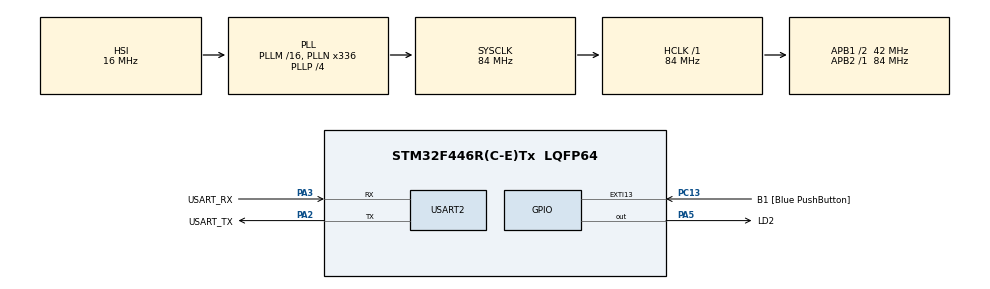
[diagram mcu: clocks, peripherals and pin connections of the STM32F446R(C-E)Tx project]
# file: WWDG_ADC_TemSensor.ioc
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ADC1.Channel-0\#ChannelRegularConversion=ADC_CHANNEL_TEMPSENSOR
ADC1.ContinuousConvMode=ENABLE
ADC1.NbrOfConversionFlag=1
ADC1.Rank-0\#ChannelRegularConversion=1
ADC1.SamplingTime-0\#ChannelRegularConversion=ADC_SAMPLETIME_28CYCLES
ADC1.master=1
Mcu.Family=STM32F4
Mcu.Name=STM32F446R(C-E)Tx
Mcu.Package=LQFP64
NVIC.PriorityGroup=NVIC_PRIORITYGROUP_0
PA13.GPIO_Label=TMS
PA13.Mode=Serial_Wire
PA13.Signal=SYS_JTMS-SWDIO
PA14.GPIO_Label=TCK
PA14.Mode=Serial_Wire
PA14.Signal=SYS_JTCK-SWCLK
PA2.GPIO_Label=USART_TX
PA2.Mode=Asynchronous
PA2.Signal=USART2_TX
PA3.GPIO_Label=USART_RX
PA3.Mode=Asynchronous
PA3.Signal=USART2_RX
PA5.GPIO_Label=LD2
PA5.Signal=GPIO_Output
PB3.GPIO_Label=SWO
PB3.Signal=SYS_JTDO-SWO
PC13.GPIO_Label=B1 [Blue PushButton]
PC13.GPIO_ModeDefaultEXTI=GPIO_MODE_IT_FALLING
PC13.Signal=GPXTI13
PC14-OSC32_IN.Signal=RCC_OSC32_IN
PC15-OSC32_OUT.Signal=RCC_OSC32_OUT
PH0-OSC_IN.Signal=RCC_OSC_IN
PH1-OSC_OUT.Signal=RCC_OSC_OUT
ProjectManager.HeapSize=0x200
ProjectManager.StackSize=0x400
ProjectManager.TargetToolchain=STM32CubeIDE
RCC.48MHZClocksFreq_Value=84000000
RCC.AHBFreq_Value=84000000
RCC.APB1CLKDivider=RCC_HCLK_DIV2
RCC.APB1Freq_Value=42000000
RCC.APB1TimFreq_Value=84000000
RCC.APB2Freq_Value=84000000
RCC.APB2TimFreq_Value=84000000
RCC.CortexFreq_Value=84000000
RCC.FLatency-AdvancedSettings=FLASH_LATENCY_2
RCC.HCLKFreq_Value=84000000
RCC.HSE_VALUE=8000000
RCC.HSI_VALUE=16000000
RCC.PLLN=336
RCC.PLLP=RCC_PLLP_DIV4
RCC.SYSCLKFreq_VALUE=84000000
RCC.SYSCLKSource=RCC_SYSCLKSOURCE_PLLCLK
RCC.USBFreq_Value=168000000
RCC.VCOOutputFreq_Value=336000000
USART2.VirtualMode=VM_ASYNC
VP_ADC1_TempSens_Input.Mode=IN-TempSens
VP_WWDG_VS_WWDG.Mode=WWDG_Activate
WWDG.Counter=127
WWDG.Prescaler=WWDG_PRESCALER_8
WWDG.Window=127
board=NUCLEO-F446RE

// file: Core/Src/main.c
/* USER CODE BEGIN Header */
/**
  ******************************************************************************
  * @file           : main.c
  * @brief          : Main program body
  ******************************************************************************
  * @attention
  *
  * Copyright (c) 2026 STMicroelectronics.
  * All rights reserved.
  *
  * This software is licensed under terms that can be found in the LICENSE file
  * in the root directory of this software component.
  * If no LICENSE file comes with this software, it is provided AS-IS.
  *
  ******************************************************************************
  */
/* USER CODE END Header */
#include "main.h"
#include <stdio.h>

/* USER CODE BEGIN PD */
// STM32F446 내부 온도 센서 및 전압 계산용 상수 정의
#define V25          0.76f       // 25℃ 기준 전압 (0.76V)
#define AVG_SLOPE    0.0025f     // 온도 기울기 (2.5mV/℃ = 0.0025V/℃)
#define ADC_TO_VOLT  (3.3f / 4095.0f) // 12비트 ADC 값을 전압(V)으로 변환
/* USER CODE END PD */

ADC_HandleTypeDef hadc1;
UART_HandleTypeDef huart2;
WWDG_HandleTypeDef hwwdg;

void SystemClock_Config(void);
static void MX_GPIO_Init(void);
static void MX_USART2_UART_Init(void);
static void MX_ADC1_Init(void);
static void MX_WWDG_Init(void);

/* USER CODE BEGIN 0 */
#ifdef __GNUC__
#define PUTCHAR_PROTOTYPE int __io_putchar(int ch)
#else
#define PUTCHAR_PROTOTYPE int fputc(int ch, FILE *f)
#endif

PUTCHAR_PROTOTYPE
{
   if(ch == '\n')
       HAL_UART_Transmit (&huart2, (uint8_t*) "\r", 1, 0xFFFF);
   HAL_UART_Transmit (&huart2, (uint8_t*) &ch, 1, 0xFFFF);

   return ch;
}
/* USER CODE END 0 */

int main(void)
{

  /* MCU Configuration--------------------------------------------------------*/

  /* Reset of all peripherals, Initializes the Flash interface and the Systick. */
  HAL_Init();

  /* Configure the system clock */
  SystemClock_Config();

  /* Initialize all configured peripherals */
  MX_GPIO_Init();
  MX_USART2_UART_Init();
  MX_ADC1_Init();
  MX_WWDG_Init(); // 와치독 초기화 (호출 즉시 카운트다운 시작)
  /* USER CODE BEGIN 2 */

  // ADC 스타트 처리 (STM32F4 시리즈는 하드웨어 자체 교정 기능이 없으므로 바로 Start)
  if (HAL_ADC_Start(&hadc1) != HAL_OK)
  {
      Error_Handler();
  }

  uint16_t adc1;
  float vSense;
  float temp;
  /* USER CODE END 2 */

  /* Infinite loop */
  /* USER CODE BEGIN WHILE */
  /* Infinite loop */
   /* USER CODE BEGIN WHILE */
   uint32_t wwdg_current_cnt = 0;
   uint8_t led_timer = 0; // 🌟 0.5초를 측정하기 위한 새로운 타이머 변수

   while (1)
   {
       HAL_WWDG_Refresh(&hwwdg);
       HAL_Delay(2); // 전원 안정화 딜레이

       // ADC 측정 및 온도 연산
       HAL_ADC_PollForConversion(&hadc1, 100);
       adc1 = HAL_ADC_GetValue(&hadc1);
       vSense = (float)adc1 * ADC_TO_VOLT;
       temp = ((V25 - vSense) / AVG_SLOPE) + 25.0f;

       // 와치독 카운터 읽기 및 출력
       wwdg_current_cnt = (hwwdg.Instance->CR) & 0x7F;
       HAL_WWDG_Refresh(&hwwdg);
       printf("WWDG: %ld | ADC: %d | Temp: %.2f C\n", wwdg_current_cnt, adc1, temp);
       HAL_WWDG_Refresh(&hwwdg);

       /*
        * 🌟 [수정 핵심]
        * 여기서는 LED를 건드리지 않고, 아래 25ms 분할 루프 안에서
        * 25ms가 20번 흐르는 순간(즉, 500ms = 0.5초)에만 LED를 딱 한 번 토글합니다.
        */
       for (uint8_t delay_cnt = 0; delay_cnt < 20; delay_cnt++)
       {
           HAL_Delay(25);
           HAL_WWDG_Refresh(&hwwdg);
       }

       // 0.5초 대기가 완전히 끝난 '이 시점'에만 LED를 한 번 뒤집어줍니다.
       HAL_GPIO_TogglePin(LD2_GPIO_Port, LD2_Pin);

     /* USER CODE END WHILE */

     /* USER CODE BEGIN 3 */
   }
}

void SystemClock_Config(void)
{
  RCC_OscInitTypeDef RCC_OscInitStruct = {0};
  RCC_ClkInitTypeDef RCC_ClkInitStruct = {0};

  __HAL_RCC_PWR_CLK_ENABLE();
  __HAL_PWR_VOLTAGESCALING_CONFIG(PWR_REGULATOR_VOLTAGE_SCALE3);

  RCC_OscInitStruct.OscillatorType = RCC_OSCILLATORTYPE_HSI;
  RCC_OscInitStruct.HSIState = RCC_HSI_ON;
  RCC_OscInitStruct.HSICalibrationValue = RCC_HSICALIBRATION_DEFAULT;
  RCC_OscInitStruct.PLL.PLLState = RCC_PLL_ON;
  RCC_OscInitStruct.PLL.PLLSource = RCC_PLLSOURCE_HSI;
  RCC_OscInitStruct.PLL.PLLM = 16;
  RCC_OscInitStruct.PLL.PLLN = 336;
  RCC_OscInitStruct.PLL.PLLP = RCC_PLLP_DIV4;
  RCC_OscInitStruct.PLL.PLLQ = 2;
  RCC_OscInitStruct.PLL.PLLR = 2;
  if (HAL_RCC_OscConfig(&RCC_OscInitStruct) != HAL_OK)
  {
    Error_Handler();
  }

  RCC_ClkInitStruct.ClockType = RCC_CLOCKTYPE_HCLK|RCC_CLOCKTYPE_SYSCLK

                              |RCC_CLOCKTYPE_PCLK1|RCC_CLOCKTYPE_PCLK2;
  RCC_ClkInitStruct.SYSCLKSource = RCC_SYSCLKSOURCE_PLLCLK;
  RCC_ClkInitStruct.AHBCLKDivider = RCC_SYSCLK_DIV1;
  RCC_ClkInitStruct.APB1CLKDivider = RCC_HCLK_DIV2;
  RCC_ClkInitStruct.APB2CLKDivider = RCC_HCLK_DIV1;

  if (HAL_RCC_ClockConfig(&RCC_ClkInitStruct, FLASH_LATENCY_2) != HAL_OK)
  {
    Error_Handler();
  }
}

static void MX_ADC1_Init(void)
{
  ADC_ChannelConfTypeDef sConfig = {0};

  hadc1.Instance = ADC1;
  hadc1.Init.ClockPrescaler = ADC_CLOCK_SYNC_PCLK_DIV4;
  hadc1.Init.Resolution = ADC_RESOLUTION_12B;
  hadc1.Init.ScanConvMode = DISABLE;
  hadc1.Init.ContinuousConvMode = ENABLE;
  hadc1.Init.DiscontinuousConvMode = DISABLE;
  hadc1.Init.ExternalTrigConvEdge = ADC_EXTERNALTRIGCONVEDGE_NONE;
  hadc1.Init.ExternalTrigConv = ADC_SOFTWARE_START;
  hadc1.Init.DataAlign = ADC_DATAALIGN_RIGHT;
  hadc1.Init.NbrOfConversion = 1;
  hadc1.Init.DMAContinuousRequests = DISABLE;
  hadc1.Init.EOCSelection = ADC_EOC_SINGLE_CONV;
  if (HAL_ADC_Init(&hadc1) != HAL_OK)
  {
    Error_Handler();
  }

  sConfig.Channel = ADC_CHANNEL_TEMPSENSOR;
  sConfig.Rank = 1;
  sConfig.SamplingTime = ADC_SAMPLETIME_15CYCLES;
  if (HAL_ADC_ConfigChannel(&hadc1, &sConfig) != HAL_OK)
  {
    Error_Handler();
  }
}

static void MX_USART2_UART_Init(void)
{
  huart2.Instance = USART2;
  huart2.Init.BaudRate = 115200;
  huart2.Init.WordLength = UART_WORDLENGTH_8B;
  huart2.Init.StopBits = UART_STOPBITS_1;
  huart2.Init.Parity = UART_PARITY_NONE;
  huart2.Init.Mode = UART_MODE_TX_RX;
  huart2.Init.HwFlowCtl = UART_HWCONTROL_NONE;
  huart2.Init.OverSampling = UART_OVERSAMPLING_16;
  if (HAL_UART_Init(&huart2) != HAL_OK)
  {
    Error_Handler();
  }
}

static void MX_WWDG_Init(void)
{
  hwwdg.Instance = WWDG; // 49.93ms 타임아웃 세팅
  hwwdg.Init.Prescaler = WWDG_PRESCALER_8;
  hwwdg.Init.Window = 127;
  hwwdg.Init.Counter = 127;
  hwwdg.Init.EWIMode = WWDG_EWI_DISABLE;
  if (HAL_WWDG_Init(&hwwdg) != HAL_OK)
  {
    Error_Handler();
  }
}

static void MX_GPIO_Init(void)
{
  GPIO_InitTypeDef GPIO_InitStruct = {0};

  __HAL_RCC_GPIOC_CLK_ENABLE();
  __HAL_RCC_GPIOH_CLK_ENABLE();
  __HAL_RCC_GPIOA_CLK_ENABLE();
  __HAL_RCC_GPIOB_CLK_ENABLE();

  HAL_GPIO_WritePin(LD2_GPIO_Port, LD2_Pin, GPIO_PIN_RESET);

  /*Configure GPIO pin : B1_Pin */
  GPIO_InitStruct.Pin = B1_Pin;
  GPIO_InitStruct.Mode = GPIO_MODE_IT_FALLING;
  GPIO_InitStruct.Pull = GPIO_NOPULL;
  HAL_GPIO_Init(B1_GPIO_Port, &GPIO_InitStruct);

  /*Configure GPIO pin : LD2_Pin */
  GPIO_InitStruct.Pin = LD2_Pin;
  GPIO_InitStruct.Mode = GPIO_MODE_OUTPUT_PP;
  GPIO_InitStruct.Pull = GPIO_NOPULL;
  GPIO_InitStruct.Speed = GPIO_SPEED_FREQ_LOW;
  HAL_GPIO_Init(LD2_GPIO_Port, &GPIO_InitStruct);
}

void Error_Handler(void)
{
  __disable_irq();
  while (1)
  {
  }
}

 //온도를 읽어주는 코드안에 워치독 기능을 넣어서 결합한 작업

 //작업과정 특이사항
